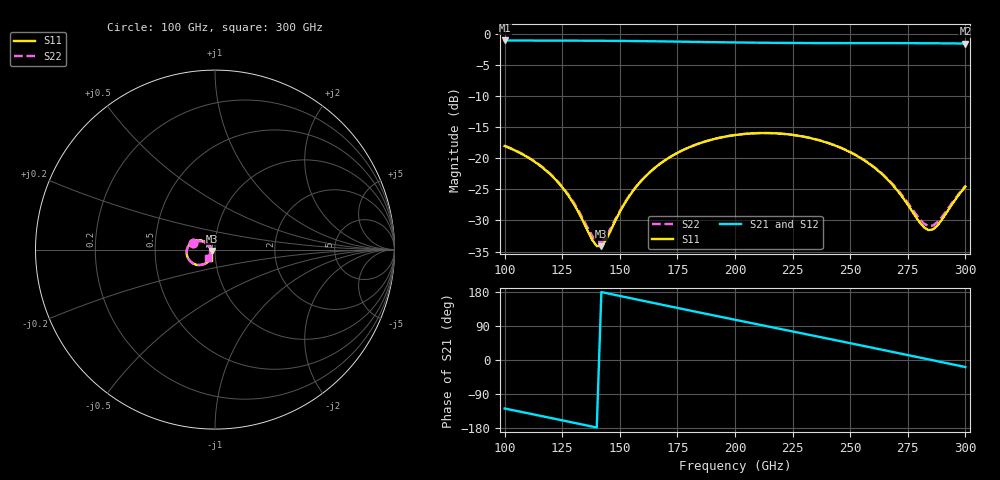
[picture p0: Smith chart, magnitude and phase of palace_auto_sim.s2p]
#  GHZ S DB R 50
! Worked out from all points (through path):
!   101 points, 100 GHz to 300 GHz, reference 50 ohm
!   highest |S21| = -1.05 dB at 100 GHz (marker M1); lowest = -1.5 dB at 300 GHz (marker M2)
!   group delay of S21, straight-line fit = 3.48 ps
!   lowest |S11| = -34.1 dB at 142 GHz (marker M3), VSWR 1.04, Z = 48.2 - j0.677 ohm
!   |S11| at or under -10 dB: start of sweep to end of sweep
!   |S22| runs from -33.4 to -15.9 dB; largest |S21 - S12| = 9.7e-14
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100  -18.03 162.7  -1.05 -127.9  -1.05 -127.9  -17.99 163.3
110  -19.83 152.1  -1.07 -140.4  -1.07 -140.4  -19.78 152.8
120  -22.65 143.7  -1.07 -152.9  -1.07 -152.9  -22.56 144.8
128  -26.17 141.6  -1.08 -163.0  -1.08 -163.0  -26.00 143.2
134  -30.08 148.9  -1.09 -170.6  -1.09 -170.6  -29.72 151.0
138  -33.12 167.0  -1.10 -175.7  -1.10 -175.7  -32.49 168.3
140  -34.12 -177.3  -1.10 -178.2  -1.10 -178.2  -33.38 -177.2
142  -34.14 -159.1  -1.10 179.2  -1.10 179.2  -33.43 -160.7
144  -33.15 -143.2  -1.11 176.7  -1.11 176.7  -32.60 -145.8
150  -28.64 -120.7  -1.12 169.1  -1.12 169.1  -28.47 -123.2
156  -25.12 -117.1  -1.15 161.5  -1.15 161.5  -25.05 -118.8
168  -20.75 -123.6  -1.20 146.3  -1.20 146.3  -20.73 -124.6
184  -17.68 -139.2  -1.29 126.1  -1.29 126.1  -17.67 -139.8
200  -16.26 -156.3  -1.37 106.2  -1.37 106.2  -16.25 -156.6
216  -15.97 -173.5  -1.43 86.5  -1.43 86.5  -15.95 -173.6
234  -16.87 167.6  -1.47 64.2  -1.47 64.2  -16.85 167.7
254  -19.85 149.2  -1.48 39.4  -1.48 39.4  -19.79 149.7
268  -24.11 142.9  -1.48 21.8  -1.48 21.8  -23.97 144.0
280  -30.23 162.7  -1.49 6.7  -1.49 6.7  -29.73 163.8
284  -31.56 -175.2  -1.50 1.6  -1.50 1.6  -30.91 -175.6
288  -30.76 -151.1  -1.51 -3.4  -1.51 -3.4  -30.24 -153.4
300  -24.56 -126.2  -1.55 -18.6  -1.55 -18.6  -24.45 -128.3
